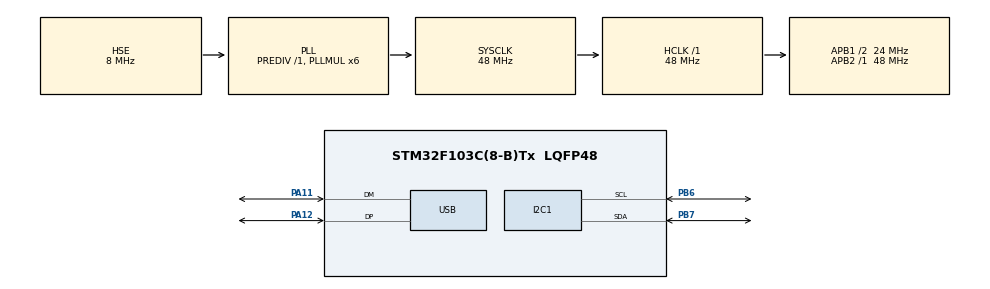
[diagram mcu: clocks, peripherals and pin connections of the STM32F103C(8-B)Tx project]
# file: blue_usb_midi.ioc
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Mcu.Family=STM32F1
Mcu.Name=STM32F103C(8-B)Tx
Mcu.Package=LQFP48
NVIC.PriorityGroup=NVIC_PRIORITYGROUP_4
NVIC.USB_HP_CAN1_TX_IRQn=true\:0\:0\:false\:false\:true\:true\:true
NVIC.USB_LP_CAN1_RX0_IRQn=true\:0\:0\:false\:false\:true\:false\:true
PA11.Mode=Device
PA11.Signal=USB_DM
PA12.Mode=Device
PA12.Signal=USB_DP
PB6.Mode=I2C
PB6.Signal=I2C1_SCL
PB7.Mode=I2C
PB7.Signal=I2C1_SDA
PD0-OSC_IN.Mode=HSE-External-Oscillator
PD0-OSC_IN.Signal=RCC_OSC_IN
PD1-OSC_OUT.Mode=HSE-External-Oscillator
PD1-OSC_OUT.Signal=RCC_OSC_OUT
ProjectManager.HeapSize=0x200
ProjectManager.StackSize=0x400
ProjectManager.TargetToolchain=STM32CubeIDE
RCC.AHBFreq_Value=48000000
RCC.APB1CLKDivider=RCC_HCLK_DIV2
RCC.APB1Freq_Value=24000000
RCC.APB1TimFreq_Value=48000000
RCC.APB2Freq_Value=48000000
RCC.APB2TimFreq_Value=48000000
RCC.HCLKFreq_Value=48000000
RCC.PLLMUL=RCC_PLL_MUL6
RCC.SYSCLKFreq_VALUE=48000000
RCC.SYSCLKSource=RCC_SYSCLKSOURCE_PLLCLK
RCC.USBFreq_Value=48000000
USB_DEVICE.CLASS_NAME_FS=AUDIO
USB_DEVICE.PRODUCT_STRING_AUDIO_FS=STM32 Midi Controller
USB_DEVICE.VirtualMode=Audio
USB_DEVICE.VirtualModeFS=Audio_FS
VP_SYS_VS_ND.Mode=No_Debug
VP_USB_DEVICE_VS_USB_DEVICE_AUDIO_FS.Mode=AUDIO_FS
board=custom

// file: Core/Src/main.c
/* USER CODE BEGIN Header */
/**
  ******************************************************************************
  * @file           : main.c
  * @brief          : Main program body
  ******************************************************************************
  * @attention
  *
  * <h2><center>&copy; Copyright (c) 2020 STMicroelectronics.
  * All rights reserved.</center></h2>
  *
  * This software component is licensed by ST under BSD 3-Clause license,
  * the "License"; You may not use this file except in compliance with the
  * License. You may obtain a copy of the License at:
  *                        opensource.org/licenses/BSD-3-Clause
  *
  ******************************************************************************
  */
/* USER CODE END Header */

#include "main.h"
#include "usb_device.h"

/* USER CODE BEGIN Includes */
#include <stdbool.h>
#include <stdlib.h>
#include <assert.h>
#include <stdbool.h>
#include "usb_device.h"
#include "usbd_core.h"
#include "usbd_MIDI.h"
#include "usbd_midi_if.h"
#include "i2c-lcd.h"
#include "keypad.h"
#include "shift_register.h"
#include "ssd1306.h"
#include "fonts.h"
/* USER CODE END Includes */

I2C_HandleTypeDef hi2c1;

/* USER CODE BEGIN PV */
const char *note_to_string[NUM_SEMITONES] = {"C", "C#", "D", "D#", "E", "F", "F#", "G", "G#", "A", "A#", "B"};
/* USER CODE END PV */

void SystemClock_Config(void);
static void MX_GPIO_Init(void);
static void MX_I2C1_Init(void);

/* USER CODE BEGIN 0 */
Keypad  keypad = {.rows_port   = GPIOA,
		          .row_pins[0] = GPIO_PIN_5,
				  .row_pins[1] = GPIO_PIN_4,
				  .row_pins[2] = GPIO_PIN_3,
				  .row_pins[3] = GPIO_PIN_2,
				  .cols_port   = GPIOB,
				  .col_pins[0] = GPIO_PIN_12,
				  .col_pins[1] = GPIO_PIN_13,
				  .col_pins[2] = GPIO_PIN_14,
				  .col_pins[3] = GPIO_PIN_15};

/* Variables relevant to the menu system */
Mode       curr_mode         = MODE_KEYPAD;
Enc1Var    enc_1_var         = ENC_KB_VAR_OCTAVE;
Enc2Var    enc_2_var         = ENC_KB_VAR_VELOCITY;

char       note_char[5]      = {0}; /* For displaying note to lcd */
char       value_label[3];          /* Buffer for displaying variables in menu */
char       note_disp[2];
char       midi_note_disp[3];

/* Variables relevant to midi data */
uint8_t    midi_channel             = 0;
uint8_t    last_note_pressed        = 0;

uint8_t    kb_vars[KB_VAR_N]        = {5, 100};     /* Octave, velocity */
uint8_t    prev_kb_vars[KB_VAR_N]   = {0, 0};

uint8_t    seq_vars[SQ_VAR_N]      = {120, 5, 1, 0}; /* BPM, length, playing, step*/
uint8_t    prev_seq_vars[SQ_VAR_N] = {0, 0, 0, 0};

uint8_t    sequence[8]  = {69, 71, 72, 74, 76, 77, 79, 80};
uint8_t    prev_seq[8] = {69, 71, 72, 74, 76, 77, 79, 80};

/* Flags for interrupt routines */
volatile bool enc_btn_isr_flag  = false;
volatile bool enc_btn2_isr_flag = false;
volatile bool seq_tim_isr_flag  = false;

volatile bool step_changed = false;

volatile bool seq_note_on = false;
volatile bool seq_note_off = false;
/* USER CODE END 0 */

int main(void)
{

	/* MCU Configuration--------------------------------------------------------*/

	/* Reset of all peripherals, Initializes the Flash interface and the Systick. */
	HAL_Init();

	/* Configure the system clock */
	SystemClock_Config();

	/* Initialize all configured peripherals */
	MX_GPIO_Init();
	//  MX_USB_DEVICE_Init();
	MX_I2C1_Init();
	/* USER CODE BEGIN 2 */
	gpio_init(); //  remember to comment out MX_USB_DEVICE_Init(); if MX regenerates it

	init_peripherals();
	sequencer_timer_init();

  /* USER CODE END 2 */

  /* Infinite loop */
  /* USER CODE BEGIN WHILE */
	while (1)
	{
		handle_encoder_btn_1(); // Toggles play state
		handle_encoder_btn_2(); // Toggles modes
		handle_encoder_1();
		handle_encoder_2();

		switch(curr_mode)
		{
			case MODE_KEYPAD:
			{
				state_keypad();
				break;
			}
			case MODE_SEQUENCER:
			{
				state_sequencer();
				break;
			}
		}
    /* USER CODE END WHILE */

	}
}

void SystemClock_Config(void)
{
  RCC_OscInitTypeDef RCC_OscInitStruct = {0};
  RCC_ClkInitTypeDef RCC_ClkInitStruct = {0};
  RCC_PeriphCLKInitTypeDef PeriphClkInit = {0};

  /** Initializes the CPU, AHB and APB busses clocks
  */
  RCC_OscInitStruct.OscillatorType = RCC_OSCILLATORTYPE_HSE;
  RCC_OscInitStruct.HSEState = RCC_HSE_ON;
  RCC_OscInitStruct.HSEPredivValue = RCC_HSE_PREDIV_DIV1;
  RCC_OscInitStruct.HSIState = RCC_HSI_ON;
  RCC_OscInitStruct.PLL.PLLState = RCC_PLL_ON;
  RCC_OscInitStruct.PLL.PLLSource = RCC_PLLSOURCE_HSE;
  RCC_OscInitStruct.PLL.PLLMUL = RCC_PLL_MUL6;
  if (HAL_RCC_OscConfig(&RCC_OscInitStruct) != HAL_OK)
  {
    Error_Handler();
  }
  /** Initializes the CPU, AHB and APB busses clocks
  */
  RCC_ClkInitStruct.ClockType = RCC_CLOCKTYPE_HCLK|RCC_CLOCKTYPE_SYSCLK
                              |RCC_CLOCKTYPE_PCLK1|RCC_CLOCKTYPE_PCLK2;
  RCC_ClkInitStruct.SYSCLKSource = RCC_SYSCLKSOURCE_PLLCLK;
  RCC_ClkInitStruct.AHBCLKDivider = RCC_SYSCLK_DIV1;
  RCC_ClkInitStruct.APB1CLKDivider = RCC_HCLK_DIV2;
  RCC_ClkInitStruct.APB2CLKDivider = RCC_HCLK_DIV1;

  if (HAL_RCC_ClockConfig(&RCC_ClkInitStruct, FLASH_LATENCY_1) != HAL_OK)
  {
    Error_Handler();
  }
  PeriphClkInit.PeriphClockSelection = RCC_PERIPHCLK_USB;
  PeriphClkInit.UsbClockSelection = RCC_USBCLKSOURCE_PLL;
  if (HAL_RCCEx_PeriphCLKConfig(&PeriphClkInit) != HAL_OK)
  {
    Error_Handler();
  }
}

static void MX_I2C1_Init(void)
{

  hi2c1.Instance = I2C1;
  hi2c1.Init.ClockSpeed = 100000;
  hi2c1.Init.DutyCycle = I2C_DUTYCYCLE_2;
  hi2c1.Init.OwnAddress1 = 0;
  hi2c1.Init.AddressingMode = I2C_ADDRESSINGMODE_7BIT;
  hi2c1.Init.DualAddressMode = I2C_DUALADDRESS_DISABLE;
  hi2c1.Init.OwnAddress2 = 0;
  hi2c1.Init.GeneralCallMode = I2C_GENERALCALL_DISABLE;
  hi2c1.Init.NoStretchMode = I2C_NOSTRETCH_DISABLE;
  if (HAL_I2C_Init(&hi2c1) != HAL_OK)
  {
    Error_Handler();
  }

}

static void MX_GPIO_Init(void)
{

  /* GPIO Ports Clock Enable */
  __HAL_RCC_GPIOD_CLK_ENABLE();
  __HAL_RCC_GPIOA_CLK_ENABLE();
  __HAL_RCC_GPIOB_CLK_ENABLE();

}

/* USER CODE BEGIN 4 */

void gpio_init(void)
{
	RCC->APB2ENR |= RCC_APB2ENR_IOPCEN;
	RCC->APB2ENR |= RCC_APB2ENR_IOPBEN;

	GPIO_InitTypeDef GPIO_InitStruct = {0};

	/* Init onboard led pin */
	GPIO_InitStruct.Pin = OB_LED_PIN;
	GPIO_InitStruct.Mode = GPIO_MODE_OUTPUT_PP;
	GPIO_InitStruct.Pull = GPIO_NOPULL;
	GPIO_InitStruct.Speed = GPIO_SPEED_FREQ_LOW;
	HAL_GPIO_Init(OB_LED_PORT, &GPIO_InitStruct);
}

void init_peripherals(void)
{
  	/* Init keypad */
	keypad_init(&keypad);
	keypad_set_key_up_handler(&keypad, key_up_handler);
	keypad_set_key_down_handler(&keypad, key_down_handler);

	/* Init usb midi device */
	USBD_Init(&hUsbDeviceFS, &FS_Desc, DEVICE_FS);
	USBD_RegisterClass(&hUsbDeviceFS, &USBD_MIDI);
	USBD_MIDI_RegisterInterface(&hUsbDeviceFS, &USBD_Interface_fops_FS);
	USBD_Start(&hUsbDeviceFS);

	HAL_Delay(2000);/* Wait for usb to initialize */

	/* Init oled */
	ssd1306_Init();
	HAL_Delay(1000);
	ssd1306_Fill(Black);
	ssd1306_UpdateScreen();
	HAL_Delay(1000);

	update_menu();

	/* Init rotary encoder*/
	encoder_timer_init();
	encoder_button_it_init();

	/* Init encoder timer values */
	TIM2->CNT = kb_vars[KB_VAR_OCTAVE]*2;
	TIM3->CNT = kb_vars[KB_VAR_VELOCITY]*2;
}

/********************************
 *** Oled and menu functions ****
 ********************************/
void update_menu(void)
{
	switch (curr_mode)
	{
		case MODE_KEYPAD:
		{
			draw_keypad_main_screen();
			break;
		}

		case MODE_SEQUENCER:
		{
			draw_sequencer_main_screen();
			break;
		}
	}
}

void draw_keypad_main_screen(void)
{
	ssd1306_Fill(Black);

	ssd1306_SetCursor(0, OLED_ROW_1);
	ssd1306_WriteString((char *)note_disp, Font_11x18, White);

	ssd1306_SetCursor(0, OLED_ROW_2);
	ssd1306_WriteString("Vel:", Font_11x18, White);

	itoa(kb_vars[KB_VAR_VELOCITY], value_label, 10);
	ssd1306_SetCursor(44, OLED_ROW_2);
	ssd1306_WriteString(value_label, Font_11x18, White);

	ssd1306_SetCursor(0, OLED_ROW_3);
	ssd1306_WriteString("Oct:", Font_11x18, White);

	itoa(kb_vars[KB_VAR_OCTAVE], value_label, 10);
	ssd1306_SetCursor(44, OLED_ROW_3);
	ssd1306_WriteString(value_label, Font_11x18, White);

	ssd1306_UpdateScreen();
}

/* Draw the rectangle representing current step */
void draw_sequencer_step(uint8_t step)
{
	for (int i = 0; i < 16; i++)
	{
		for (int j = 0; j < 16; j++)
		{
			ssd1306_DrawPixel(j + step*16, i + SEQ_FR_TOP, White);
		}
	}
}

void draw_sequencer_main_screen(void)
{
	ssd1306_Fill(Black); /* Clear screen*/

	/* Draw text labels */
	ssd1306_SetCursor(0, OLED_ROW_1);
	ssd1306_WriteString("BPM:", Font_11x18, White);

	itoa(seq_vars[SQ_VAR_BPM], value_label, 10);
	ssd1306_SetCursor(44, OLED_ROW_1);
	ssd1306_WriteString(value_label, Font_11x18, White);

	/* Commented out while note length not enabled */
	ssd1306_SetCursor(0, OLED_ROW_2);
	ssd1306_WriteString("Len:", Font_11x18, White);

	itoa(seq_vars[SQ_VAR_LENGTH], value_label, 10);
	ssd1306_SetCursor(44, OLED_ROW_2);
	ssd1306_WriteString(value_label, Font_11x18, White);

	ssd1306_SetCursor(88, OLED_ROW_1);

	if(seq_vars[SQ_VAR_PLAYING])
	{
		/* Draw triangle for play symbol */
		/* Draw top part of triangle */
		for (int y = 0; y < 8; y++)
		{
			for (int x = 0; x < y; x++)
			{
				ssd1306_DrawPixel(x + 99, y, White);
			}
		}
		/* Draw bottom part of triangle*/
		int width = 0;
		for (int y = 8; y > 0; y--)
		{
			for (int x = 0; x < y; x++)
			{
				ssd1306_DrawPixel(x + 99, width + 8, White);
			}
			width++;
		}
	}
	else
	{
		/* Draw square for stop */
		for (int i = 0; i < 16; i++)
		{
			for (int j = 0; j < 8; j++)
			{
				ssd1306_DrawPixel(j + 99, i, White);
			}
		}
	}

	/* Draw note val of current step */
	ssd1306_SetCursor(88, OLED_ROW_2);
	ssd1306_WriteString((char *)midi_note_disp, Font_11x18, White);

	/* Draw sequencer frame */

	/* Draw top horizontal line */
	for (int i = 0; i < 128; i++){ssd1306_DrawPixel(i, 1 + SEQ_FR_TOP, White);}

	/* Draw bottom horizontal line */
	for (int i = 16; i < 18; i++)
	{
		for (int j = 0; j < 128; j++){ssd1306_DrawPixel(j, i + SEQ_FR_TOP, White);}
	}

	/* Draw vertical lines */
	for(int line = 0; line < 17; ++line)
	{
		for (int i = 0; i < 16; i++){ssd1306_DrawPixel(line*16, i + SEQ_FR_TOP, White);}
	}

	/* Draw final vertical line */
	for (int i = 0; i < 16; i++){ssd1306_DrawPixel(127, i + SEQ_FR_TOP, White);}

	draw_sequencer_step(seq_vars[SQ_VAR_STEP]);

	ssd1306_UpdateScreen();
}

/*****************************
 ****** State functions ******
 *****************************/
void state_keypad(void)
{
	keypad_scan(&keypad);
}

/* Loop through sequencer values on timer overflow */
void state_sequencer(void)
{
	if(seq_vars[SQ_VAR_PLAYING])
	{
		if(seq_tim_isr_flag)
		{
			if(seq_note_on)
			{
				if(seq_vars[SQ_VAR_STEP] < N_SEQ_STEPS-1)
				{
					seq_vars[SQ_VAR_STEP]++;
				}
				else
				{
					seq_vars[SQ_VAR_STEP] = 0;
				}
				prev_seq_vars[SQ_VAR_STEP] = seq_vars[SQ_VAR_STEP];

				midi_note_on(midi_channel, sequence[seq_vars[SQ_VAR_STEP]], kb_vars[KB_VAR_VELOCITY]);

				/* Copy note to string for oled display*/
				itoa(sequence[seq_vars[SQ_VAR_STEP]], midi_note_disp, 10);
				update_menu();
				seq_note_on = false;
			}
			else
			{
				midi_note_off(midi_channel, sequence[prev_seq_vars[SQ_VAR_STEP]], kb_vars[KB_VAR_VELOCITY]);
				seq_note_on = true;
			}
			seq_tim_isr_flag = false;
		}
	}
	else if(!seq_vars[SQ_VAR_PLAYING])
	{
		// Copy note to string for oled display
		itoa(sequence[seq_vars[SQ_VAR_STEP]], midi_note_disp, 10);
		update_menu();
	}
}

/***************************
 **** Keypad functions *****
 ***************************/
void key_up_handler(const char key)
{
	midi_note_off(midi_channel, last_note_pressed, kb_vars[KB_VAR_VELOCITY]);
}

void key_down_handler(const char key)
{
	HAL_Delay(100); /* Debounce */

	int base_note = kb_vars[KB_VAR_OCTAVE] * NUM_SEMITONES;
	int ind       = key % NUM_SEMITONES;

	/* Copy note to string for oled display*/
	strcpy(note_disp, note_to_string[ind]);

	last_note_pressed = key + base_note;
	midi_note_on(midi_channel, key + base_note, kb_vars[KB_VAR_VELOCITY]);
	update_menu();
}

/*******************************
 ***** Sequencer functions *****
 *******************************/

volatile uint16_t seq_timer_cnt = 0;

/* Sequencer timer */
void TIM4_IRQHandler(void)
{
	if (TIM4->SR & TIM_SR_UIF)
	{
		if(seq_note_on)
		{
			TIM4->ARR = (int)(BPM_TO_MS(seq_vars[SQ_VAR_BPM]*2) / MAX_NOTE_LEN) * seq_vars[SQ_VAR_LENGTH];
		}
		else
		{
			TIM4->ARR = (int)(BPM_TO_MS(seq_vars[SQ_VAR_BPM]*2) / MAX_NOTE_LEN) * (MAX_NOTE_LEN - seq_vars[SQ_VAR_LENGTH]);
		}

		seq_tim_isr_flag = true;
		TIM4->CNT = 0;
		TIM4->SR &= ~(TIM_SR_UIF);
	}
}

/* APB1 clock 48MHz*/
void sequencer_timer_init(void)
{
	/* Main sequencer timer*/
	RCC->APB1ENR |= RCC_APB1ENR_TIM4EN;

	TIM4->CR1 &= ~(TIM_CR1_CEN);

	// Setup to trigger at 1ms interval
	TIM4->CNT = 0;
	TIM4->PSC = 48000-1;
	TIM4->ARR = BPM_TO_MS(seq_vars[SQ_VAR_BPM]*2);

	TIM4->DIER |= TIM_DIER_UIE; // Enable the hardware interrupt.

	NVIC_EnableIRQ(TIM4_IRQn);
	NVIC_SetPriority(TIM4_IRQn, 3);
	TIM4->CR1 |= TIM_CR1_CEN; /* Enable timer */
}

void sequencer_update_bpm(void)
{
	if(prev_seq_vars[SQ_VAR_BPM] != seq_vars[SQ_VAR_BPM])
	{
		TIM4->ARR = (BPM_TO_MS(seq_vars[SQ_VAR_BPM]*2));
		TIM4->CNT = 0;
	}
}

/*****************************
 ***** Encoder functions *****
 *****************************/
void encoder_timer_init(void)
{
	/* Enable clocks */
	RCC->APB2ENR |= RCC_APB2ENR_AFIOEN | RCC_APB2ENR_IOPBEN;
	RCC->APB1ENR |= RCC_APB1ENR_TIM2EN;

	/* Setup encoder timer 1 */
	TIM2->ARR = 0xFFFF;
	TIM2->CCMR1 |= (TIM_CCMR1_CC1S_0 | TIM_CCMR1_CC2S_0 );  /* Map chans to timer inputs */
	TIM2->CCER &= ~(TIM_CCER_CC1P | TIM_CCER_CC2P);         /* Trigger on rising edge */
	TIM2->SMCR |= TIM_SMCR_SMS_0;                           /* Set encoder mode */
	TIM2->CR1 |= TIM_CR1_CEN ;                              /* Enable timer */

	/* Enable clocks */
	RCC->APB1ENR |= RCC_APB1ENR_TIM3EN;

	/* Setup encoder timer 2 */
	TIM3->ARR = 0xFFFF;
	TIM3->CCMR1 |= (TIM_CCMR1_CC1S_0 | TIM_CCMR1_CC2S_0 );  /* Map chans to timer inputs */
	TIM3->CCER &= ~(TIM_CCER_CC1P | TIM_CCER_CC2P);         /* Trigger on rising edge */
	TIM3->SMCR |= TIM_SMCR_SMS_0;                           /* Set encoder mode */
	TIM3->CR1 |= TIM_CR1_CEN ;                              /* Enable timer */
}

/* For handling encoder 1 button */
void EXTI15_10_IRQHandler(void)
{
	if(EXTI->PR & EXTI_PR_PR14)
	{
		enc_btn_isr_flag = true;
		EXTI->PR |= EXTI_PR_PR14;
	}
}

/* For handling encoder 2 button */
void EXTI1_IRQHandler(void)
{
	if(EXTI->PR & EXTI_PR_PR1)
	{
		enc_btn2_isr_flag = true;
		EXTI->PR |= EXTI_PR_PR1;
	}
}

void encoder_button_it_init(void)
{
	/* Init button 1*/
	RCC->APB2ENR |= RCC_APB2ENR_IOPCEN;

	GPIO_InitTypeDef GPIO_InitStruct = {0};

	GPIO_InitStruct.Pin = ENC_BTN_PIN;
	GPIO_InitStruct.Mode = GPIO_MODE_INPUT;
	GPIO_InitStruct.Pull = GPIO_NOPULL;
	HAL_GPIO_Init(ENC_BTN_PORT, &GPIO_InitStruct);

	AFIO->EXTICR[3] |= AFIO_EXTICR4_EXTI14_PC;

	EXTI->IMR |= EXTI_IMR_MR14;
	EXTI->RTSR |= EXTI_RTSR_TR14;

	NVIC_EnableIRQ(EXTI15_10_IRQn);
	NVIC_SetPriority(EXTI15_10_IRQn, 0);

	/* Init button 2*/
	RCC->APB2ENR |= RCC_APB2ENR_IOPBEN;

	GPIO_InitStruct.Pin = ENC2_BTN_PIN;
	GPIO_InitStruct.Mode = GPIO_MODE_INPUT;
	GPIO_InitStruct.Pull = GPIO_NOPULL;
	HAL_GPIO_Init(ENC2_BTN_PORT, &GPIO_InitStruct);

	AFIO->EXTICR[0] |= AFIO_EXTICR1_EXTI1_PB;

	EXTI->IMR |= EXTI_IMR_MR1;
	EXTI->RTSR |= EXTI_RTSR_TR1;

	NVIC_EnableIRQ(EXTI1_IRQn);
	NVIC_SetPriority(EXTI1_IRQn, 0);
}

/* This button is used to toggle play/stop in sequencer mode */
void handle_encoder_btn_1(void)
{
	if(enc_btn_isr_flag)
	{
		if(curr_mode == MODE_SEQUENCER)
		{
			if(seq_vars[SQ_VAR_PLAYING])
			{
				seq_vars[SQ_VAR_PLAYING] = 0;
				enc_1_var = ENC_SQ_VAR_STEP;
				enc_2_var = ENC_SQ_VAR_NOTE;

				/* Reset timers to previous values */
				TIM2->CNT = seq_vars[SQ_VAR_STEP]*2;
				TIM3->CNT = seq_vars[seq_vars[SQ_VAR_STEP]]*2;
			}
			else
			{
				seq_vars[SQ_VAR_PLAYING] = 1;
				enc_1_var = ENC_SQ_VAR_LENGTH;
				enc_2_var = ENC_SQ_VAR_TEMPO;

				/* Reset timers to previous values */
				TIM2->CNT = prev_seq_vars[SQ_VAR_LENGTH]*2;
				TIM3->CNT = prev_seq_vars[SQ_VAR_BPM]*2;
			}
		}
		update_menu();
		enc_btn_isr_flag = false;
	}
}

/* This button is used for toggling modes*/
void handle_encoder_btn_2(void)
{
	if(enc_btn2_isr_flag)
	{
		switch(curr_mode)
		{
			case MODE_KEYPAD:
			{
				seq_vars[SQ_VAR_STEP] = 0;
				seq_vars[SQ_VAR_PLAYING] = 0;

				enc_1_var = ENC_SQ_VAR_STEP;
				enc_2_var = ENC_SQ_VAR_NOTE;

				/* Reset timers to previous values */
				TIM2->CNT = prev_seq_vars[SQ_VAR_STEP]*2;
				TIM3->CNT = prev_seq[prev_seq_vars[SQ_VAR_STEP]]*2;

				curr_mode = MODE_SEQUENCER;
				break;
			}
			case MODE_SEQUENCER:
			{
				seq_vars[SQ_VAR_STEP] = 0;
				seq_vars[SQ_VAR_PLAYING] = 0;

				enc_1_var = ENC_KB_VAR_OCTAVE;
				enc_2_var = ENC_KB_VAR_VELOCITY;

				/* Reset timers to previous values */
				TIM2->CNT = prev_kb_vars[KB_VAR_OCTAVE]*2;
				TIM3->CNT = prev_kb_vars[KB_VAR_VELOCITY]*2;

				curr_mode = MODE_KEYPAD;
				break;
			}
		}
		update_menu();
		enc_btn2_isr_flag = false;
	}
}

void update_encoder(TIM_TypeDef *TIMx, uint8_t min, uint8_t max, uint8_t *curr_val, uint8_t *prev_val)
{
	assert(TIMx == TIM2 || TIMx == TIM3);

	TIMx->ARR = max*2;       // Set max timer value
	*curr_val = TIMx->CNT/2; // Increments twice per click so divide by 2

	if(*prev_val != *curr_val)
	{
		/* THIS IS DIRTY */
		if(curr_mode == MODE_SEQUENCER && enc_1_var == ENC_SQ_VAR_STEP && TIMx == TIM2)
		{
			TIM3->CNT = prev_seq[*curr_val]*2;
			sequence[*curr_val] = TIM3->CNT;
			midi_note_off(midi_channel, sequence[*curr_val], kb_vars[KB_VAR_VELOCITY]);
		}

		if(curr_mode == MODE_SEQUENCER && enc_1_var == ENC_SQ_VAR_LENGTH && TIMx == TIM2)
		{
			sequencer_update_bpm();
		}

		if(curr_mode == MODE_SEQUENCER && enc_2_var == ENC_SQ_VAR_TEMPO && TIMx == TIM3)
		{
			sequencer_update_bpm();
		}

		update_menu();
	}

	*prev_val = *curr_val;
}

void handle_encoder_1(void)
{
	switch(enc_1_var)
	{
		case ENC_KB_VAR_OCTAVE:
		{
			update_encoder(TIM2, 0, MAX_MIDI_OCTAVES, &kb_vars[KB_VAR_OCTAVE], &prev_kb_vars[KB_VAR_OCTAVE]);
			break;
		}
		case ENC_SQ_VAR_LENGTH:
		{
			update_encoder(TIM2, MIN_NOTE_LEN, MAX_NOTE_LEN, &seq_vars[SQ_VAR_LENGTH], &prev_seq_vars[SQ_VAR_LENGTH]);
			break;
		}
		case ENC_SQ_VAR_STEP:
		{
			update_encoder(TIM2, 0, N_SEQ_STEPS, &seq_vars[SQ_VAR_STEP], &prev_seq_vars[SQ_VAR_STEP]);
			break;
		}
	}
}

void handle_encoder_2(void)
{
	switch(enc_2_var)
	{
		case ENC_KB_VAR_VELOCITY:
		{
			update_encoder(TIM3, 0, MAX_VELOCITY, &kb_vars[KB_VAR_VELOCITY], &prev_kb_vars[KB_VAR_VELOCITY]);
			break;
		}
		case ENC_SQ_VAR_TEMPO:
		{
			update_encoder(TIM3, MIN_BPM, MAX_BPM, &seq_vars[SQ_VAR_BPM], &prev_seq_vars[SQ_VAR_BPM]);
			break;
		}
		case ENC_SQ_VAR_NOTE:
		{
			update_encoder(TIM3, 0, MAX_MIDI_NOTE, &sequence[seq_vars[SQ_VAR_STEP]], &prev_seq[seq_vars[SQ_VAR_STEP]]);
			break;
		}
	}
}

/* USER CODE END 4 */

void Error_Handler(void)
{
}

/************************ (C) COPYRIGHT STMicroelectronics *****END OF FILE****/
